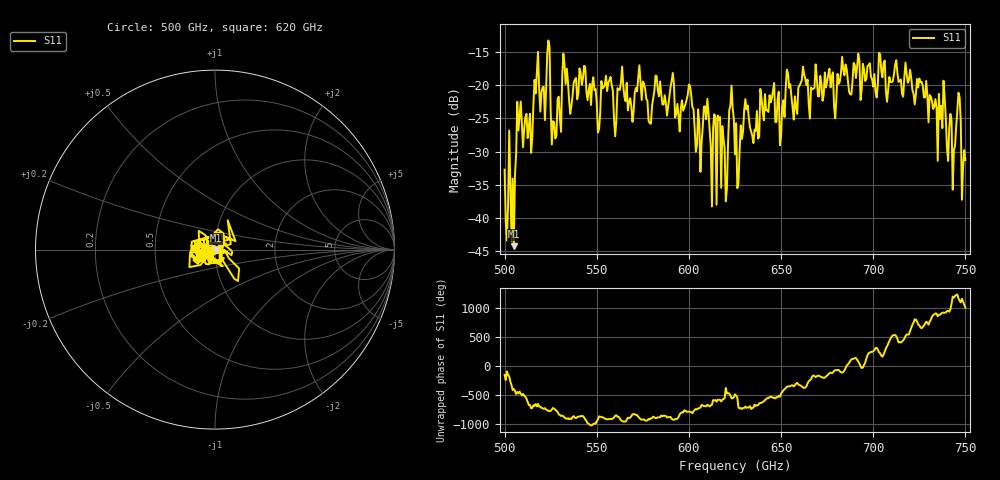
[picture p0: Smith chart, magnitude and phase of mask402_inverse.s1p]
!Created with skrf (http://scikit-rf.org).
# GHz S MA R 50.0
!freq magS11 angS11
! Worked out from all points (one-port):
!   401 points, 500 GHz to 750 GHz, reference 50 ohm
!   lowest |S11| = -44.2 dB at 505 GHz (marker M1), VSWR 1.01, Z = 50.5 - j0.377 ohm
!   |S11| at or under -10 dB: start of sweep to end of sweep
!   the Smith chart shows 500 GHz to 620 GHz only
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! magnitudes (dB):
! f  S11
! 500 GHz  -32.7
! 505 GHz  -44.2
! 508.1 GHz  -24.7
! 513.8 GHz  -24.3
! 516.9 GHz  -21.2
! 520.6 GHz  -20.3
! 523.8 GHz  -13.3
! 526.9 GHz  -25.6
! 531.2 GHz  -18.6
! 542.5 GHz  -19.0
! 550.6 GHz  -27.1
! 562.5 GHz  -20.7
! 578.8 GHz  -25.7
! 590.6 GHz  -19.4
! 593.8 GHz  -22.8
! 600 GHz  -19.9
! 605 GHz  -23.6
! 609.4 GHz  -25.1
! 620 GHz  -37.5
! 623.1 GHz  -20.1
! 625 GHz  -30.4
! 656.2 GHz  -23.4
! 687.5 GHz  -21.4
! 718.8 GHz  -19.6
! 738.1 GHz  -19.3
! 743.8 GHz  -29.8
! 746.2 GHz  -21.1
! 750 GHz  -31.3
